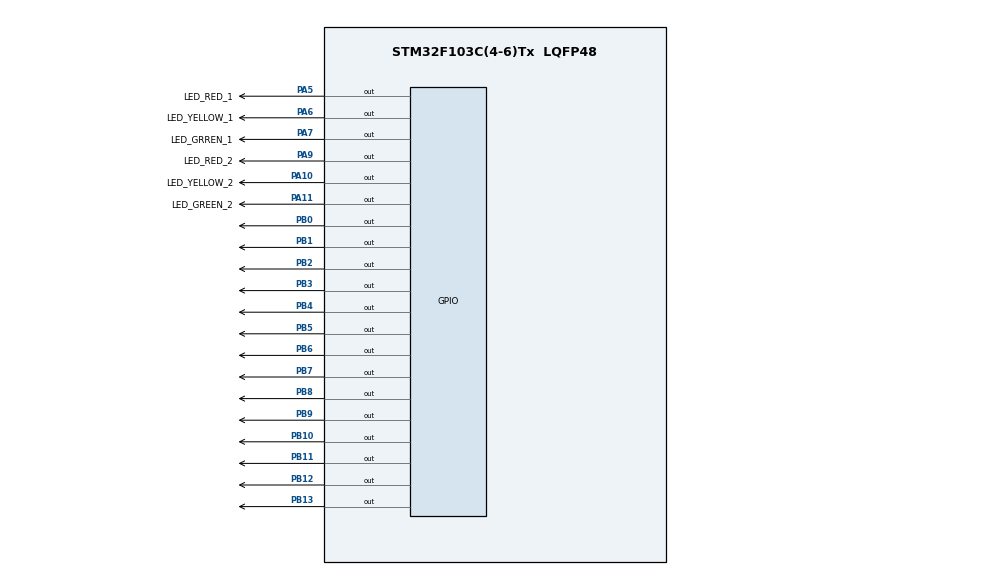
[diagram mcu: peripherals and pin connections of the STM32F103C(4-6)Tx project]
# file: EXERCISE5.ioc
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Mcu.Family=STM32F1
Mcu.Name=STM32F103C(4-6)Tx
Mcu.Package=LQFP48
NVIC.PriorityGroup=NVIC_PRIORITYGROUP_4
PA10.GPIO_Label=LED_YELLOW_2
PA10.Signal=GPIO_Output
PA11.GPIO_Label=LED_GREEN_2
PA11.Signal=GPIO_Output
PA5.GPIO_Label=LED_RED_1
PA5.Signal=GPIO_Output
PA6.GPIO_Label=LED_YELLOW_1
PA6.Signal=GPIO_Output
PA7.GPIO_Label=LED_GRREN_1
PA7.Signal=GPIO_Output
PA9.GPIO_Label=LED_RED_2
PA9.Signal=GPIO_Output
PB0.Signal=GPIO_Output
PB1.Signal=GPIO_Output
PB10.Signal=GPIO_Output
PB11.Signal=GPIO_Output
PB12.Signal=GPIO_Output
PB13.Signal=GPIO_Output
PB2.Signal=GPIO_Output
PB3.Signal=GPIO_Output
PB4.Signal=GPIO_Output
PB5.Signal=GPIO_Output
PB6.Signal=GPIO_Output
PB7.Signal=GPIO_Output
PB8.Signal=GPIO_Output
PB9.Signal=GPIO_Output
ProjectManager.HeapSize=0x200
ProjectManager.StackSize=0x400
ProjectManager.TargetToolchain=STM32CubeIDE
RCC.APB1Freq_Value=8000000
RCC.APB2Freq_Value=8000000
VP_SYS_VS_ND.Mode=No_Debug
board=custom

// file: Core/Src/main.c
/* USER CODE BEGIN Header */
/**
  ******************************************************************************
  * @file           : main.c
  * @brief          : Main program body
  ******************************************************************************
  * @attention
  *
  * <h2><center>&copy; Copyright (c) 2023 STMicroelectronics.
  * All rights reserved.</center></h2>
  *
  * This software component is licensed by ST under BSD 3-Clause license,
  * the "License"; You may not use this file except in compliance with the
  * License. You may obtain a copy of the License at:
  *                        opensource.org/licenses/BSD-3-Clause
  *
  ******************************************************************************
  */
/* USER CODE END Header */
#include "main.h"

void SystemClock_Config(void);
static void MX_GPIO_Init(void);

int main(void)
{

  /* MCU Configuration--------------------------------------------------------*/

  /* Reset of all peripherals, Initializes the Flash interface and the Systick. */
  HAL_Init();

  /* Configure the system clock */
  SystemClock_Config();

  /* Initialize all configured peripherals */
  MX_GPIO_Init();
void display7SEG(int num){
	HAL_GPIO_WritePin(GPIOB, GPIO_PIN_0 | GPIO_PIN_1 | GPIO_PIN_2 | GPIO_PIN_3 | GPIO_PIN_4 | GPIO_PIN_5 | GPIO_PIN_6, SET); // TAT TOAN BO LED TREN LED SO
	switch (num) {
		case 0:
			HAL_GPIO_WritePin(GPIOB, GPIO_PIN_0 | GPIO_PIN_1 | GPIO_PIN_2 | GPIO_PIN_3 | GPIO_PIN_4 | GPIO_PIN_5, RESET);
			break;
		case 1:
			HAL_GPIO_WritePin(GPIOB, GPIO_PIN_1 | GPIO_PIN_2, RESET);
			break;
		case 2:
			HAL_GPIO_WritePin(GPIOB, GPIO_PIN_0 | GPIO_PIN_1 | GPIO_PIN_3 | GPIO_PIN_4 | GPIO_PIN_6, RESET);
			break;
		case 3:
			HAL_GPIO_WritePin(GPIOB, GPIO_PIN_0 | GPIO_PIN_1 | GPIO_PIN_2 | GPIO_PIN_3 | GPIO_PIN_6, RESET);
			break;
		case 4:
			HAL_GPIO_WritePin(GPIOB, GPIO_PIN_1 | GPIO_PIN_2 | GPIO_PIN_5 | GPIO_PIN_6, RESET);
			break;
		case 5:
			HAL_GPIO_WritePin(GPIOB, GPIO_PIN_0 | GPIO_PIN_2 | GPIO_PIN_3 | GPIO_PIN_5 | GPIO_PIN_6, RESET);
			break;
		case 6:
			HAL_GPIO_WritePin(GPIOB, GPIO_PIN_0 | GPIO_PIN_2 | GPIO_PIN_3 | GPIO_PIN_4 | GPIO_PIN_5 | GPIO_PIN_6, RESET);
			break;
		case 7:
			HAL_GPIO_WritePin(GPIOB, GPIO_PIN_0 | GPIO_PIN_1 | GPIO_PIN_2, RESET);
			break;
		case 8:
			HAL_GPIO_WritePin(GPIOB, GPIO_PIN_0 | GPIO_PIN_1 | GPIO_PIN_2 | GPIO_PIN_3 | GPIO_PIN_4 | GPIO_PIN_5 | GPIO_PIN_6, RESET);
			break;
		case 9:
			HAL_GPIO_WritePin(GPIOB, GPIO_PIN_0 | GPIO_PIN_1 | GPIO_PIN_2 | GPIO_PIN_3 | GPIO_PIN_5 | GPIO_PIN_6, RESET);
			break;
	}
}
int count = 0;
  /* Infinite loop */
  /* USER CODE BEGIN WHILE */
  while (1)
  {
	  //BAT DEN XANH DEN SO 1
	  HAL_GPIO_WritePin(GPIOA, LED_RED_1_Pin, SET);
	  HAL_GPIO_WritePin(GPIOA, LED_YELLOW_1_Pin, RESET);
	  HAL_GPIO_WritePin(GPIOA, LED_GRREN_1_Pin, RESET);
	  //NOI DEN TREN  PROTEUS DE KHI TIN HIEU DAU VAO LA 1 THI DEN SANG
	  while (count <= 5){
		  if (count < 3){
			  //BAT DEN DO DEN SO 2, SO 5 DANG DEM CHO DEN DO SO 2 VA BAT DAU DEN XANH 1
			  HAL_GPIO_WritePin(GPIOA, LED_RED_2_Pin, RESET);
			  HAL_GPIO_WritePin(GPIOA, LED_YELLOW_2_Pin, RESET);
			  HAL_GPIO_WritePin(GPIOA, LED_GREEN_2_Pin, SET);
		  }
		  else {
			  //DEN DO SO 2 CON 2 VA BAT DAU BAT DEN VANG 1
			  //->DEN XANH 1 TAT
			  HAL_GPIO_WritePin(GPIOA, LED_RED_2_Pin, RESET);
			  HAL_GPIO_WritePin(GPIOA, LED_GREEN_2_Pin, RESET);
			  HAL_GPIO_WritePin(GPIOA, LED_YELLOW_2_Pin, SET);
		  }
			  display7SEG(5-count);
			  count++;
			  HAL_Delay(1000);
	  }
	  count = 0;
	  HAL_GPIO_WritePin(GPIOA, LED_GREEN_2_Pin, RESET);
	  HAL_GPIO_WritePin(GPIOA, LED_RED_2_Pin, SET);
	  HAL_GPIO_WritePin(GPIOA, LED_YELLOW_2_Pin, RESET);
	  while (count <= 5){
		  //BAT DEN DO DEN SO 1, SO 5 DANG DEM CHO DEN DO SO 1 VA BAT DAU DEN XANH 2
	  if (count <3){
		  HAL_GPIO_WritePin(GPIOA, LED_RED_1_Pin, RESET);
		  HAL_GPIO_WritePin(GPIOA, LED_YELLOW_1_Pin, RESET);
		  HAL_GPIO_WritePin(GPIOA, LED_GRREN_1_Pin, SET);
	  }
	  else {
		  //DEN DO SO 2 CON 2 VA BAT DAU BAT DEN VANG 1
		  //->DEN XANH 1 TAT
		  HAL_GPIO_WritePin(GPIOA, LED_RED_1_Pin, RESET);
		  HAL_GPIO_WritePin(GPIOA, LED_GRREN_1_Pin, RESET);
		  HAL_GPIO_WritePin(GPIOA, LED_YELLOW_1_Pin, SET);
	  }
		  display7SEG(5-count);
		  count++;
		  HAL_Delay(1000);
	  }

    /* USER CODE END WHILE */

  }
}

void SystemClock_Config(void)
{
  RCC_OscInitTypeDef RCC_OscInitStruct = {0};
  RCC_ClkInitTypeDef RCC_ClkInitStruct = {0};

  /** Initializes the RCC Oscillators according to the specified parameters
  * in the RCC_OscInitTypeDef structure.
  */
  RCC_OscInitStruct.OscillatorType = RCC_OSCILLATORTYPE_HSI;
  RCC_OscInitStruct.HSIState = RCC_HSI_ON;
  RCC_OscInitStruct.HSICalibrationValue = RCC_HSICALIBRATION_DEFAULT;
  RCC_OscInitStruct.PLL.PLLState = RCC_PLL_NONE;
  if (HAL_RCC_OscConfig(&RCC_OscInitStruct) != HAL_OK)
  {
    Error_Handler();
  }
  /** Initializes the CPU, AHB and APB buses clocks
  */
  RCC_ClkInitStruct.ClockType = RCC_CLOCKTYPE_HCLK|RCC_CLOCKTYPE_SYSCLK
                              |RCC_CLOCKTYPE_PCLK1|RCC_CLOCKTYPE_PCLK2;
  RCC_ClkInitStruct.SYSCLKSource = RCC_SYSCLKSOURCE_HSI;
  RCC_ClkInitStruct.AHBCLKDivider = RCC_SYSCLK_DIV1;
  RCC_ClkInitStruct.APB1CLKDivider = RCC_HCLK_DIV1;
  RCC_ClkInitStruct.APB2CLKDivider = RCC_HCLK_DIV1;

  if (HAL_RCC_ClockConfig(&RCC_ClkInitStruct, FLASH_LATENCY_0) != HAL_OK)
  {
    Error_Handler();
  }
}

static void MX_GPIO_Init(void)
{
  GPIO_InitTypeDef GPIO_InitStruct = {0};

  /* GPIO Ports Clock Enable */
  __HAL_RCC_GPIOA_CLK_ENABLE();
  __HAL_RCC_GPIOB_CLK_ENABLE();

  /*Configure GPIO pin Output Level */
  HAL_GPIO_WritePin(GPIOA, LED_RED_1_Pin|LED_YELLOW_1_Pin|LED_GRREN_1_Pin|LED_RED_2_Pin
                          |LED_YELLOW_2_Pin|LED_GREEN_2_Pin, GPIO_PIN_RESET);

  /*Configure GPIO pin Output Level */
  HAL_GPIO_WritePin(GPIOB, GPIO_PIN_0|GPIO_PIN_1|GPIO_PIN_2|GPIO_PIN_10
                          |GPIO_PIN_11|GPIO_PIN_12|GPIO_PIN_13|GPIO_PIN_3
                          |GPIO_PIN_4|GPIO_PIN_5|GPIO_PIN_6|GPIO_PIN_7
                          |GPIO_PIN_8|GPIO_PIN_9, GPIO_PIN_RESET);

  /*Configure GPIO pins : LED_RED_1_Pin LED_YELLOW_1_Pin LED_GRREN_1_Pin LED_RED_2_Pin
                           LED_YELLOW_2_Pin LED_GREEN_2_Pin */
  GPIO_InitStruct.Pin = LED_RED_1_Pin|LED_YELLOW_1_Pin|LED_GRREN_1_Pin|LED_RED_2_Pin
                          |LED_YELLOW_2_Pin|LED_GREEN_2_Pin;
  GPIO_InitStruct.Mode = GPIO_MODE_OUTPUT_PP;
  GPIO_InitStruct.Pull = GPIO_NOPULL;
  GPIO_InitStruct.Speed = GPIO_SPEED_FREQ_LOW;
  HAL_GPIO_Init(GPIOA, &GPIO_InitStruct);

  /*Configure GPIO pins : PB0 PB1 PB2 PB10
                           PB11 PB12 PB13 PB3
                           PB4 PB5 PB6 PB7
                           PB8 PB9 */
  GPIO_InitStruct.Pin = GPIO_PIN_0|GPIO_PIN_1|GPIO_PIN_2|GPIO_PIN_10
                          |GPIO_PIN_11|GPIO_PIN_12|GPIO_PIN_13|GPIO_PIN_3
                          |GPIO_PIN_4|GPIO_PIN_5|GPIO_PIN_6|GPIO_PIN_7
                          |GPIO_PIN_8|GPIO_PIN_9;
  GPIO_InitStruct.Mode = GPIO_MODE_OUTPUT_PP;
  GPIO_InitStruct.Pull = GPIO_NOPULL;
  GPIO_InitStruct.Speed = GPIO_SPEED_FREQ_LOW;
  HAL_GPIO_Init(GPIOB, &GPIO_InitStruct);

}

void Error_Handler(void)
{
  __disable_irq();
  while (1)
  {
  }
}

/************************ (C) COPYRIGHT STMicroelectronics *****END OF FILE****/
